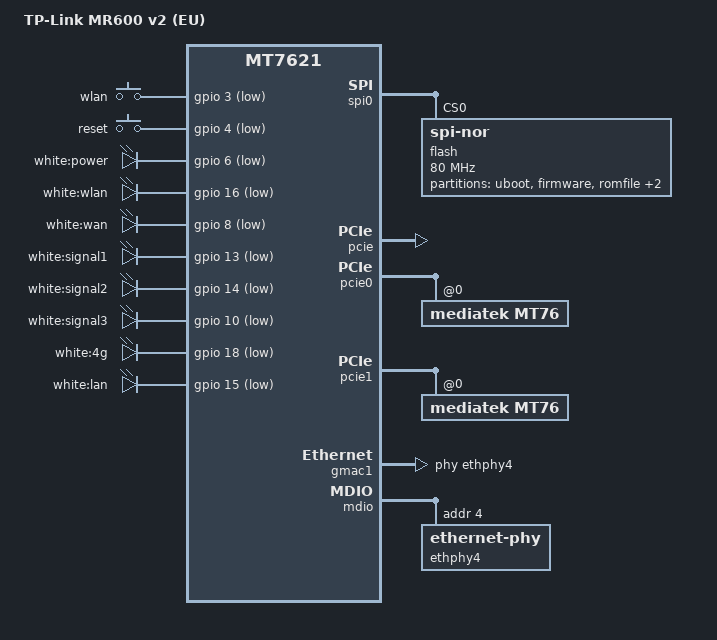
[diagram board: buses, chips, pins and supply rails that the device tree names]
// SPDX-License-Identifier: GPL-2.0-or-later

#include "mt7621.dtsi"

#include <dt-bindings/gpio/gpio.h>
#include <dt-bindings/input/input.h>
#include <dt-bindings/leds/common.h>

/ {
	compatible = "tplink,mr600-v2-eu", "mediatek,mt7621-soc";
	model = "TP-Link MR600 v2 (EU)";

	aliases {
		led-boot = &led_power;
		led-failsafe = &led_power;
		led-running = &led_power;
		led-upgrade = &led_power;
		label-mac-device = &gmac0;
	};

	chosen {
		bootargs = "console=ttyS0,115200";
	};

	keys {
		compatible = "gpio-keys";

		wlan {
			label = "wlan";
			gpios = <&gpio 3 GPIO_ACTIVE_LOW>;
			linux,code = <KEY_WLAN>;
		};

		reset {
			label = "reset";
			gpios = <&gpio 4 GPIO_ACTIVE_LOW>;
			linux,code = <KEY_RESTART>;
		};
	};

	leds {
		compatible = "gpio-leds";

		led_power: power {
			label = "white:power";
			gpios = <&gpio 6 GPIO_ACTIVE_LOW>;
		};
		wlan {
			label = "white:wlan";
			gpios = <&gpio 16 GPIO_ACTIVE_LOW>;
			linux,default-trigger = "phy1tpt";
		};
		wan {
			label = "white:wan";
			gpios = <&gpio 8 GPIO_ACTIVE_LOW>;
		};

		signal1 {
			label = "white:signal1";
			gpios = <&gpio 13 GPIO_ACTIVE_LOW>;
		};

		signal2 {
			label = "white:signal2";
			gpios = <&gpio 14 GPIO_ACTIVE_LOW>;
		};

		signal3 {
			label = "white:signal3";
			gpios = <&gpio 10 GPIO_ACTIVE_LOW>;
		};

		4g {
			label = "white:4g";
			gpios = <&gpio 18 GPIO_ACTIVE_LOW>;
		};
		lan {
			label = "white:lan";
			gpios = <&gpio 15 GPIO_ACTIVE_LOW>;
		};
	};

};

&spi0 {
	status = "okay";

	flash@0 {
		compatible = "jedec,spi-nor";
		reg = <0>;
		spi-max-frequency = <80000000>;

		partitions {
			compatible = "fixed-partitions";
			#address-cells = <1>;
			#size-cells = <1>;

			partition@0 {
				label = "uboot";
				reg = <0x00000 0x20000>;
				read-only;
			};

			partition@20000 {
				compatible = "openwrt,uimage";
				openwrt,offset = <512>; /* account for the 512-byte long header */
				label = "firmware";
				reg = <0x20000 0xfa0000>;
			};

			romfile: partition@fc0000 {
				label = "romfile";
				reg = <0xfc0000 0x10000>;
				read-only;
			};

			partition@fd0000 {
				label = "config";
				reg = <0xfd0000 0x10000>;
				read-only;
			};

			radio: partition@fe0000 {
				label = "radio";
				reg = <0xfe0000 0x10000>;
				read-only;
			};
		};
	};
};

&pcie {
	status = "okay";
};


&pcie0 {
	mt76@0,0 {
		compatible = "mediatek,mt76";
		reg = <0x0000 0 0 0 0>;
		nvmem-cells = <&macaddr_romfile_f100>;
		nvmem-cell-names = "mac-address";
		mediatek,mtd-eeprom = <&radio 0x0>;
		mtd-mac-address = <&romfile 0xf100>;
		ieee80211-freq-limit = <2400000 2500000>;
	};
};

&pcie1 {
	mt76@0,0 {
		compatible = "mediatek,mt76";
		reg = <0x0000 0 0 0 0>;
		mediatek,mtd-eeprom = <&radio 0x8000>;
		ieee80211-freq-limit = <5000000 6000000>;
		nvmem-cells = <&macaddr_romfile_f100>;
		nvmem-cell-names = "mac-address";
		mac-address-increment = <(-1)>;
	};
};

&gmac0 {
	nvmem-cells = <&macaddr_romfile_f100>;
	nvmem-cell-names = "mac-address";
};

&gmac1 {
	status = "okay";
	label = "wan";
	phy-handle = <&ethphy4>;

	nvmem-cells = <&macaddr_romfile_f100>;
	nvmem-cell-names = "mac-address";
};

&mdio {
	ethphy4: ethernet-phy@4 {
		reg = <4>;
	};
};


&switch0 {
	ports {
		port@1 {
			status = "okay";
			label = "lan1";
		};
		port@2 {
			status = "okay";
			label = "lan2";
		};
		port@3 {
			status = "okay";
			label = "lan3";
		};
	};
};

&romfile {
	compatible = "nvmem-cells";
	#address-cells = <1>;
	#size-cells = <1>;

	macaddr_romfile_f100: romfile@f100 {
		reg = <0xf100 0x6>;
	};
};
